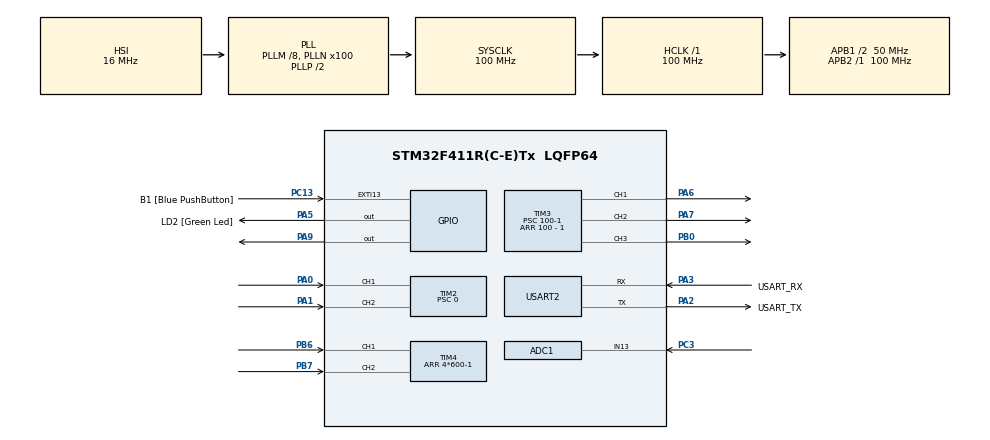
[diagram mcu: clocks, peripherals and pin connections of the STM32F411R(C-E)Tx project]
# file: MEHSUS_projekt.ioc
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ADC1.Channel-2\#ChannelRegularConversion=ADC_CHANNEL_13
ADC1.ContinuousConvMode=ENABLE
ADC1.NbrOfConversionFlag=1
ADC1.Rank-2\#ChannelRegularConversion=1
ADC1.SamplingTime-2\#ChannelRegularConversion=ADC_SAMPLETIME_3CYCLES
ADC1.master=1
Mcu.Family=STM32F4
Mcu.Name=STM32F411R(C-E)Tx
Mcu.Package=LQFP64
NVIC.ADC_IRQn=true\:0\:0\:false\:false\:true\:true\:true\:true
NVIC.PriorityGroup=NVIC_PRIORITYGROUP_0
NVIC.TIM5_IRQn=true\:0\:0\:false\:false\:true\:true\:true\:true
PA0-WKUP.Signal=S_TIM2_CH1_ETR
PA1.Signal=S_TIM2_CH2
PA13.GPIO_Label=TMS
PA13.Mode=Serial_Wire
PA13.Signal=SYS_JTMS-SWDIO
PA14.GPIO_Label=TCK
PA14.Mode=Serial_Wire
PA14.Signal=SYS_JTCK-SWCLK
PA2.GPIO_Label=USART_TX
PA2.Mode=Asynchronous
PA2.Signal=USART2_TX
PA3.GPIO_Label=USART_RX
PA3.Mode=Asynchronous
PA3.Signal=USART2_RX
PA5.GPIO_Label=LD2 [Green Led]
PA5.Signal=GPIO_Output
PA6.Signal=S_TIM3_CH1
PA7.Signal=S_TIM3_CH2
PA9.Signal=GPIO_Output
PB0.Signal=S_TIM3_CH3
PB3.GPIO_Label=SWO
PB3.Signal=SYS_JTDO-SWO
PB6.GPIO_PuPd=GPIO_PULLUP
PB6.Signal=S_TIM4_CH1
PB7.GPIO_PuPd=GPIO_PULLUP
PB7.Signal=S_TIM4_CH2
PC13-ANTI_TAMP.GPIO_Label=B1 [Blue PushButton]
PC13-ANTI_TAMP.GPIO_ModeDefaultEXTI=GPIO_MODE_IT_FALLING
PC13-ANTI_TAMP.Signal=GPXTI13
PC14-OSC32_IN.Mode=LSE-External-Oscillator
PC14-OSC32_IN.Signal=RCC_OSC32_IN
PC15-OSC32_OUT.Mode=LSE-External-Oscillator
PC15-OSC32_OUT.Signal=RCC_OSC32_OUT
PC3.Signal=ADCx_IN13
PH0\ -\ OSC_IN.Mode=HSE-External-Oscillator
PH0\ -\ OSC_IN.Signal=RCC_OSC_IN
PH1\ -\ OSC_OUT.Mode=HSE-External-Oscillator
PH1\ -\ OSC_OUT.Signal=RCC_OSC_OUT
ProjectManager.HeapSize=0x200
ProjectManager.StackSize=0x400
ProjectManager.TargetToolchain=STM32CubeIDE
RCC.48MHZClocksFreq_Value=50000000
RCC.AHBFreq_Value=100000000
RCC.APB1CLKDivider=RCC_HCLK_DIV2
RCC.APB1Freq_Value=50000000
RCC.APB1TimFreq_Value=100000000
RCC.APB2Freq_Value=100000000
RCC.APB2TimFreq_Value=100000000
RCC.CortexFreq_Value=100000000
RCC.FLatency-AdvancedSettings=FLASH_LATENCY_3
RCC.HCLKFreq_Value=100000000
RCC.HSE_VALUE=8000000
RCC.HSI_VALUE=16000000
RCC.PLLM=8
RCC.PLLN=100
RCC.SYSCLKFreq_VALUE=100000000
RCC.SYSCLKSource=RCC_SYSCLKSOURCE_PLLCLK
RCC.VCOOutputFreq_Value=200000000
SH.ADCx_IN13.0=ADC1_IN13,IN13
SH.S_TIM2_CH1_ETR.0=TIM2_CH1,Encoder_Interface
SH.S_TIM2_CH2.0=TIM2_CH2,Encoder_Interface
SH.S_TIM3_CH1.0=TIM3_CH1,PWM Generation1 CH1
SH.S_TIM3_CH2.0=TIM3_CH2,PWM Generation2 CH2
SH.S_TIM3_CH3.0=TIM3_CH3,PWM Generation3 CH3
SH.S_TIM4_CH1.0=TIM4_CH1,Encoder_Interface
SH.S_TIM4_CH2.0=TIM4_CH2,Encoder_Interface
TIM2.AutoReloadPreload=TIM_AUTORELOAD_PRELOAD_ENABLE
TIM2.CounterMode=TIM_COUNTERMODE_UP
TIM2.EncoderMode=TIM_ENCODERMODE_TI12
TIM2.IC1Polarity=TIM_ICPOLARITY_FALLING
TIM2.IC2Polarity=TIM_ICPOLARITY_FALLING
TIM2.Period=2048*4 -1
TIM2.Prescaler=0
TIM3.Channel-PWM\ Generation1\ CH1=TIM_CHANNEL_1
TIM3.Channel-PWM\ Generation2\ CH2=TIM_CHANNEL_2
TIM3.Channel-PWM\ Generation3\ CH3=TIM_CHANNEL_3
TIM3.Period=100 - 1
TIM3.Prescaler=100-1
TIM4.AutoReloadPreload=TIM_AUTORELOAD_PRELOAD_ENABLE
TIM4.EncoderMode=TIM_ENCODERMODE_TI12
TIM4.IC1Polarity=TIM_ICPOLARITY_FALLING
TIM4.IC2Polarity=TIM_ICPOLARITY_FALLING
TIM4.Period=4*600-1
TIM5.AutoReloadPreload=TIM_AUTORELOAD_PRELOAD_ENABLE
TIM5.Period=10000-1
TIM5.Prescaler=100-1
USART2.VirtualMode=VM_ASYNC
VP_TIM5_VS_ClockSourceINT.Mode=Internal
board=NUCLEO-F411RE

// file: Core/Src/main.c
/* USER CODE BEGIN Header */
/**
  ******************************************************************************
  * @file           : main.c
  * @brief          : Main program body
  ******************************************************************************
  * @attention
  *
  * Copyright (c) 2022 STMicroelectronics.
  * All rights reserved.
  *
  * This software is licensed under terms that can be found in the LICENSE file
  * in the root directory of this software component.
  * If no LICENSE file comes with this software, it is provided AS-IS.
  *
  ******************************************************************************
  */
/* USER CODE END Header */
#include "main.h"

/* USER CODE BEGIN Includes */

#include <math.h>

/* USER CODE END Includes */

/* USER CODE BEGIN PD */
#define _2_SQRT3 1.15470053838f
#define _SQRT3 1.73205080757f
#define _1_SQRT3 0.57735026919f
#define _SQRT3_2 0.86602540378f
#define _SQRT2 1.41421356237f
#define _120_D2R 2.09439510239f
#define _PI 3.14159265359f
#define _PI_2 1.57079632679f
#define _PI_3 1.0471975512f
#define _2PI 6.28318530718f
#define _3PI_2 4.71238898038f
#define _PI_6 0.52359877559f
#define _RPM_TO_RADS 0.10471975512f

#define _round(x) ((x)>=0?(long)((x)+0.5f):(long)((x)-0.5f))
#define _constrain(amt,low,high) ((amt)<(low)?(low):((amt)>(high)?(high):(amt)))
#define _sign(a) ( ( (a) < 0 )  ?  -1   : ( (a) > 0 ) )

/* USER CODE END PD */

ADC_HandleTypeDef hadc1;

TIM_HandleTypeDef htim2;
TIM_HandleTypeDef htim3;
TIM_HandleTypeDef htim4;
TIM_HandleTypeDef htim5;

UART_HandleTypeDef huart2;

/* USER CODE BEGIN PV */

int sine_array[200] = {0,79,158,237,316,395,473,552,631,710,789,867,946,1024,1103,1181,1260,1338,1416,1494,1572,1650,1728,1806,1883,1961,2038,2115,2192,2269,2346,2423,2499,2575,2652,2728,2804,2879,2955,3030,3105,3180,3255,3329,3404,3478,3552,3625,3699,3772,3845,3918,3990,4063,4135,4206,4278,4349,4420,4491,4561,4631,4701,4770,4840,4909,4977,5046,5113,5181,5249,5316,5382,5449,5515,5580,5646,5711,5775,5839,5903,5967,6030,6093,6155,6217,6279,6340,6401,6461,6521,6581,6640,6699,6758,6815,6873,6930,6987,7043,7099,7154,7209,7264,7318,7371,7424,7477,7529,7581,7632,7683,7733,7783,7832,7881,7930,7977,8025,8072,8118,8164,8209,8254,8298,8342,8385,8428,8470,8512,8553,8594,8634,8673,8712,8751,8789,8826,8863,8899,8935,8970,9005,9039,9072,9105,9138,9169,9201,9231,9261,9291,9320,9348,9376,9403,9429,9455,9481,9506,9530,9554,9577,9599,9621,9642,9663,9683,9702,9721,9739,9757,9774,9790,9806,9821,9836,9850,9863,9876,9888,9899,9910,9920,9930,9939,9947,9955,9962,9969,9975,9980,9985,9989,9992,9995,9997,9999,10000,10000};

/* USER CODE END PV */

void SystemClock_Config(void);
static void MX_GPIO_Init(void);
static void MX_USART2_UART_Init(void);
static void MX_TIM2_Init(void);
static void MX_TIM3_Init(void);
static void MX_TIM4_Init(void);
static void MX_ADC1_Init(void);
static void MX_TIM5_Init(void);
/* USER CODE BEGIN PFP */

float _sin(float a){
  if(a < _PI_2){
    //return sine_array[(int)(199.0*( a / (_PI/2.0)))];
    //return sine_array[(int)(126.6873* a)];           // float array optimized
    return 0.0001*sine_array[_round(126.6873* a)];      // int array optimized
  }else if(a < _PI){
    // return sine_array[(int)(199.0*(1.0 - (a-_PI/2.0) / (_PI/2.0)))];
    //return sine_array[398 - (int)(126.6873*a)];          // float array optimized
    return 0.0001*sine_array[398 - _round(126.6873*a)];     // int array optimized
  }else if(a < _3PI_2){
    // return -sine_array[(int)(199.0*((a - _PI) / (_PI/2.0)))];
    //return -sine_array[-398 + (int)(126.6873*a)];           // float array optimized
    return -0.0001*sine_array[-398 + _round(126.6873*a)];      // int array optimized
  } else {
    // return -sine_array[(int)(199.0*(1.0 - (a - 3*_PI/2) / (_PI/2.0)))];
    //return -sine_array[796 - (int)(126.6873*a)];           // float array optimized
    return -0.0001*sine_array[796 - _round(126.6873*a)];      // int array optimized
  }
}

/* USER CODE END PFP */

/* USER CODE BEGIN 0 */

int sector = 0;

int init_done = 0;

int voltage_power_supply = 12;
float Uq = 6; // 0.5 * voltage_power_supply

int D1 = 0;
int D2 = 0;
int D3 = 0;

uint32_t counter_motor;
uint32_t counter_commutation_motor;

double counter_base_old = 0;
double counter_base_new = 0;
double counter_base_velocity;

uint16_t counter_base_raw;
int counter_base;

uint16_t potValue = 0;

int PWM_value = 25; //0-25

void HAL_TIM_PeriodElapsedCallback(TIM_HandleTypeDef *htim){
	counter_base_new = counter_base * _PI / 180;
	counter_base_velocity = (counter_base_new - counter_base_old) * 100;
	counter_base_old = counter_base_new;
}

void HAL_ADC_ConvCpltCallback(ADC_HandleTypeDef* hadc){
	  potValue = HAL_ADC_GetValue(&hadc1);
	  Uq =  potValue * 12 / 4096 - 6;
}

float LQR(float p_angle, float p_vel, float m_vel){

	float u =  1138.4*p_angle + 129.6*p_vel + 0*m_vel;

	if(abs(u) > 6) u = _sign(u)*6;

	return u;
}
/* USER CODE END 0 */

int main(void)
{

  /* MCU Configuration--------------------------------------------------------*/

  /* Reset of all peripherals, Initializes the Flash interface and the Systick. */
  HAL_Init();

  /* Configure the system clock */
  SystemClock_Config();

  /* Initialize all configured peripherals */
  MX_GPIO_Init();
  MX_USART2_UART_Init();
  MX_TIM2_Init();
  MX_TIM3_Init();
  MX_TIM4_Init();
  MX_ADC1_Init();
  MX_TIM5_Init();
  /* USER CODE BEGIN 2 */

  HAL_TIM_PWM_Start(&htim3, TIM_CHANNEL_1);
  HAL_TIM_PWM_Start(&htim3, TIM_CHANNEL_2);
  HAL_TIM_PWM_Start(&htim3, TIM_CHANNEL_3);
  //HAL_TIM_PWM_Start(&htim4, TIM_CHANNEL_1);

  // INIT
  HAL_GPIO_WritePin(GPIOA, GPIO_PIN_9, RESET);
  HAL_Delay(1000);
  HAL_GPIO_WritePin(GPIOA, GPIO_PIN_9, SET);
  if (init_done == 0 ) {
	  htim3.Instance->CCR1 = 100;
	  htim3.Instance->CCR2 = 0;
	  htim3.Instance->CCR3 = 0;
	  HAL_GPIO_WritePin(LD2_GPIO_Port, LD2_Pin, SET);
	  HAL_Delay(2000);
	  init_done = 1;
	  HAL_TIM_Encoder_Start(&htim2, TIM_CHANNEL_ALL);
	  HAL_GPIO_WritePin(LD2_GPIO_Port, LD2_Pin, RESET);
  }

  HAL_TIM_Encoder_Start(&htim4, TIM_CHANNEL_ALL);
  HAL_TIM_Base_Start_IT(&htim5);
  /* USER CODE END 2 */

  /* Infinite loop */
  while (1)
  {

    /* USER CODE BEGIN 3 */

	  //HAL_ADC_Start_IT(&hadc1);

	  HAL_GPIO_WritePin(GPIOA, GPIO_PIN_9, SET);

	  //counter_base = htim4.Instance->CCR1

	  counter_base_raw = htim4.Instance->CCR1;
	  counter_base = counter_base_raw * 360 / (htim4.Init.Period + 1) - 180;

	  counter_motor = htim2.Instance->CCR1 * 360 * 7 / (htim2.Init.Period + 1);
	  counter_commutation_motor = (counter_motor + 0) % 360;
	  float angle_el = counter_commutation_motor * _PI / 180;

	  if (abs(counter_base) < 60){
		  Uq = LQR(counter_base, counter_base_velocity, 0);
	  } else {
		  Uq = -_sign(counter_base_velocity) * 0.3 * voltage_power_supply;
		  //Uq = 0;
	  }

	  sector = floor(angle_el / _PI_3) + 1;
	  float T1 = _SQRT3 * _sin(sector * _PI_3 - angle_el) * Uq/voltage_power_supply;
	  float T2 = _SQRT3 * _sin(angle_el  - (sector - 1.0) * _PI_3) * Uq/voltage_power_supply;
	  float T0 = 1 - T1 - T2;

	  float Ta,Tb,Tc;

	  switch(sector){
	  case 1:
		  Ta = T1 + T2 + T0/2;
		  Tb = T2 + T0/2;
		  Tc = T0/2;
		  break;
	  case 2:
		  Ta = T1 +  T0/2;
		  Tb = T1 + T2 + T0/2;
		  Tc = T0/2;
		  break;
	  case 3:
		  Ta = T0/2;
		  Tb = T1 + T2 + T0/2;
		  Tc = T2 + T0/2;
		  break;
	  case 4:
		  Ta = T0/2;
		  Tb = T1+ T0/2;
		  Tc = T1 + T2 + T0/2;
		  break;
	  case 5:
		  Ta = T2 + T0/2;
		  Tb = T0/2;
		  Tc = T1 + T2 + T0/2;
		  break;
	  case 6:
		  Ta = T1 + T2 + T0/2;
		  Tb = T0/2;
		  Tc = T1 + T0/2;
		  break;
	  default:
		  // possible error state
		  Ta = 0;
		  Tb = 0;
		  Tc = 0;
	  }

	  htim3.Instance->CCR1 = Ta * PWM_value;
	  htim3.Instance->CCR2 = Tb * PWM_value;
	  htim3.Instance->CCR3 = Tc * PWM_value;

  }
  /* USER CODE END 3 */
}

void SystemClock_Config(void)
{
  RCC_OscInitTypeDef RCC_OscInitStruct = {0};
  RCC_ClkInitTypeDef RCC_ClkInitStruct = {0};

  /** Configure the main internal regulator output voltage
  */
  __HAL_RCC_PWR_CLK_ENABLE();
  __HAL_PWR_VOLTAGESCALING_CONFIG(PWR_REGULATOR_VOLTAGE_SCALE1);

  /** Initializes the RCC Oscillators according to the specified parameters
  * in the RCC_OscInitTypeDef structure.
  */
  RCC_OscInitStruct.OscillatorType = RCC_OSCILLATORTYPE_HSI;
  RCC_OscInitStruct.HSIState = RCC_HSI_ON;
  RCC_OscInitStruct.HSICalibrationValue = RCC_HSICALIBRATION_DEFAULT;
  RCC_OscInitStruct.PLL.PLLState = RCC_PLL_ON;
  RCC_OscInitStruct.PLL.PLLSource = RCC_PLLSOURCE_HSI;
  RCC_OscInitStruct.PLL.PLLM = 8;
  RCC_OscInitStruct.PLL.PLLN = 100;
  RCC_OscInitStruct.PLL.PLLP = RCC_PLLP_DIV2;
  RCC_OscInitStruct.PLL.PLLQ = 4;
  if (HAL_RCC_OscConfig(&RCC_OscInitStruct) != HAL_OK)
  {
    Error_Handler();
  }

  /** Initializes the CPU, AHB and APB buses clocks
  */
  RCC_ClkInitStruct.ClockType = RCC_CLOCKTYPE_HCLK|RCC_CLOCKTYPE_SYSCLK
                              |RCC_CLOCKTYPE_PCLK1|RCC_CLOCKTYPE_PCLK2;
  RCC_ClkInitStruct.SYSCLKSource = RCC_SYSCLKSOURCE_PLLCLK;
  RCC_ClkInitStruct.AHBCLKDivider = RCC_SYSCLK_DIV1;
  RCC_ClkInitStruct.APB1CLKDivider = RCC_HCLK_DIV2;
  RCC_ClkInitStruct.APB2CLKDivider = RCC_HCLK_DIV1;

  if (HAL_RCC_ClockConfig(&RCC_ClkInitStruct, FLASH_LATENCY_3) != HAL_OK)
  {
    Error_Handler();
  }
}

static void MX_ADC1_Init(void)
{

  ADC_ChannelConfTypeDef sConfig = {0};

  /** Configure the global features of the ADC (Clock, Resolution, Data Alignment and number of conversion)
  */
  hadc1.Instance = ADC1;
  hadc1.Init.ClockPrescaler = ADC_CLOCK_SYNC_PCLK_DIV4;
  hadc1.Init.Resolution = ADC_RESOLUTION_12B;
  hadc1.Init.ScanConvMode = DISABLE;
  hadc1.Init.ContinuousConvMode = ENABLE;
  hadc1.Init.DiscontinuousConvMode = DISABLE;
  hadc1.Init.ExternalTrigConvEdge = ADC_EXTERNALTRIGCONVEDGE_NONE;
  hadc1.Init.ExternalTrigConv = ADC_SOFTWARE_START;
  hadc1.Init.DataAlign = ADC_DATAALIGN_RIGHT;
  hadc1.Init.NbrOfConversion = 1;
  hadc1.Init.DMAContinuousRequests = DISABLE;
  hadc1.Init.EOCSelection = ADC_EOC_SINGLE_CONV;
  if (HAL_ADC_Init(&hadc1) != HAL_OK)
  {
    Error_Handler();
  }

  /** Configure for the selected ADC regular channel its corresponding rank in the sequencer and its sample time.
  */
  sConfig.Channel = ADC_CHANNEL_13;
  sConfig.Rank = 1;
  sConfig.SamplingTime = ADC_SAMPLETIME_3CYCLES;
  if (HAL_ADC_ConfigChannel(&hadc1, &sConfig) != HAL_OK)
  {
    Error_Handler();
  }

}

static void MX_TIM2_Init(void)
{

  TIM_Encoder_InitTypeDef sConfig = {0};
  TIM_MasterConfigTypeDef sMasterConfig = {0};

  htim2.Instance = TIM2;
  htim2.Init.Prescaler = 0;
  htim2.Init.CounterMode = TIM_COUNTERMODE_UP;
  htim2.Init.Period = 2048*4 -1;
  htim2.Init.ClockDivision = TIM_CLOCKDIVISION_DIV1;
  htim2.Init.AutoReloadPreload = TIM_AUTORELOAD_PRELOAD_ENABLE;
  sConfig.EncoderMode = TIM_ENCODERMODE_TI12;
  sConfig.IC1Polarity = TIM_ICPOLARITY_FALLING;
  sConfig.IC1Selection = TIM_ICSELECTION_DIRECTTI;
  sConfig.IC1Prescaler = TIM_ICPSC_DIV1;
  sConfig.IC1Filter = 0;
  sConfig.IC2Polarity = TIM_ICPOLARITY_FALLING;
  sConfig.IC2Selection = TIM_ICSELECTION_DIRECTTI;
  sConfig.IC2Prescaler = TIM_ICPSC_DIV1;
  sConfig.IC2Filter = 0;
  if (HAL_TIM_Encoder_Init(&htim2, &sConfig) != HAL_OK)
  {
    Error_Handler();
  }
  sMasterConfig.MasterOutputTrigger = TIM_TRGO_RESET;
  sMasterConfig.MasterSlaveMode = TIM_MASTERSLAVEMODE_DISABLE;
  if (HAL_TIMEx_MasterConfigSynchronization(&htim2, &sMasterConfig) != HAL_OK)
  {
    Error_Handler();
  }

}

static void MX_TIM3_Init(void)
{

  TIM_MasterConfigTypeDef sMasterConfig = {0};
  TIM_OC_InitTypeDef sConfigOC = {0};

  htim3.Instance = TIM3;
  htim3.Init.Prescaler = 100-1;
  htim3.Init.CounterMode = TIM_COUNTERMODE_UP;
  htim3.Init.Period = 100 - 1;
  htim3.Init.ClockDivision = TIM_CLOCKDIVISION_DIV1;
  htim3.Init.AutoReloadPreload = TIM_AUTORELOAD_PRELOAD_DISABLE;
  if (HAL_TIM_PWM_Init(&htim3) != HAL_OK)
  {
    Error_Handler();
  }
  sMasterConfig.MasterOutputTrigger = TIM_TRGO_RESET;
  sMasterConfig.MasterSlaveMode = TIM_MASTERSLAVEMODE_DISABLE;
  if (HAL_TIMEx_MasterConfigSynchronization(&htim3, &sMasterConfig) != HAL_OK)
  {
    Error_Handler();
  }
  sConfigOC.OCMode = TIM_OCMODE_PWM1;
  sConfigOC.Pulse = 0;
  sConfigOC.OCPolarity = TIM_OCPOLARITY_HIGH;
  sConfigOC.OCFastMode = TIM_OCFAST_DISABLE;
  if (HAL_TIM_PWM_ConfigChannel(&htim3, &sConfigOC, TIM_CHANNEL_1) != HAL_OK)
  {
    Error_Handler();
  }
  if (HAL_TIM_PWM_ConfigChannel(&htim3, &sConfigOC, TIM_CHANNEL_2) != HAL_OK)
  {
    Error_Handler();
  }
  if (HAL_TIM_PWM_ConfigChannel(&htim3, &sConfigOC, TIM_CHANNEL_3) != HAL_OK)
  {
    Error_Handler();
  }
  HAL_TIM_MspPostInit(&htim3);

}

static void MX_TIM4_Init(void)
{

  TIM_Encoder_InitTypeDef sConfig = {0};
  TIM_MasterConfigTypeDef sMasterConfig = {0};

  htim4.Instance = TIM4;
  htim4.Init.Prescaler = 0;
  htim4.Init.CounterMode = TIM_COUNTERMODE_UP;
  htim4.Init.Period = 4*600-1;
  htim4.Init.ClockDivision = TIM_CLOCKDIVISION_DIV1;
  htim4.Init.AutoReloadPreload = TIM_AUTORELOAD_PRELOAD_ENABLE;
  sConfig.EncoderMode = TIM_ENCODERMODE_TI12;
  sConfig.IC1Polarity = TIM_ICPOLARITY_FALLING;
  sConfig.IC1Selection = TIM_ICSELECTION_DIRECTTI;
  sConfig.IC1Prescaler = TIM_ICPSC_DIV1;
  sConfig.IC1Filter = 0;
  sConfig.IC2Polarity = TIM_ICPOLARITY_FALLING;
  sConfig.IC2Selection = TIM_ICSELECTION_DIRECTTI;
  sConfig.IC2Prescaler = TIM_ICPSC_DIV1;
  sConfig.IC2Filter = 0;
  if (HAL_TIM_Encoder_Init(&htim4, &sConfig) != HAL_OK)
  {
    Error_Handler();
  }
  sMasterConfig.MasterOutputTrigger = TIM_TRGO_RESET;
  sMasterConfig.MasterSlaveMode = TIM_MASTERSLAVEMODE_DISABLE;
  if (HAL_TIMEx_MasterConfigSynchronization(&htim4, &sMasterConfig) != HAL_OK)
  {
    Error_Handler();
  }

}

static void MX_TIM5_Init(void)
{

  TIM_ClockConfigTypeDef sClockSourceConfig = {0};
  TIM_MasterConfigTypeDef sMasterConfig = {0};

  htim5.Instance = TIM5;
  htim5.Init.Prescaler = 100-1;
  htim5.Init.CounterMode = TIM_COUNTERMODE_UP;
  htim5.Init.Period = 10000-1;
  htim5.Init.ClockDivision = TIM_CLOCKDIVISION_DIV1;
  htim5.Init.AutoReloadPreload = TIM_AUTORELOAD_PRELOAD_ENABLE;
  if (HAL_TIM_Base_Init(&htim5) != HAL_OK)
  {
    Error_Handler();
  }
  sClockSourceConfig.ClockSource = TIM_CLOCKSOURCE_INTERNAL;
  if (HAL_TIM_ConfigClockSource(&htim5, &sClockSourceConfig) != HAL_OK)
  {
    Error_Handler();
  }
  sMasterConfig.MasterOutputTrigger = TIM_TRGO_RESET;
  sMasterConfig.MasterSlaveMode = TIM_MASTERSLAVEMODE_DISABLE;
  if (HAL_TIMEx_MasterConfigSynchronization(&htim5, &sMasterConfig) != HAL_OK)
  {
    Error_Handler();
  }

}

static void MX_USART2_UART_Init(void)
{

  huart2.Instance = USART2;
  huart2.Init.BaudRate = 115200;
  huart2.Init.WordLength = UART_WORDLENGTH_8B;
  huart2.Init.StopBits = UART_STOPBITS_1;
  huart2.Init.Parity = UART_PARITY_NONE;
  huart2.Init.Mode = UART_MODE_TX_RX;
  huart2.Init.HwFlowCtl = UART_HWCONTROL_NONE;
  huart2.Init.OverSampling = UART_OVERSAMPLING_16;
  if (HAL_UART_Init(&huart2) != HAL_OK)
  {
    Error_Handler();
  }

}

static void MX_GPIO_Init(void)
{
  GPIO_InitTypeDef GPIO_InitStruct = {0};

  /* GPIO Ports Clock Enable */
  __HAL_RCC_GPIOC_CLK_ENABLE();
  __HAL_RCC_GPIOH_CLK_ENABLE();
  __HAL_RCC_GPIOA_CLK_ENABLE();
  __HAL_RCC_GPIOB_CLK_ENABLE();

  /*Configure GPIO pin Output Level */
  HAL_GPIO_WritePin(GPIOA, LD2_Pin|GPIO_PIN_9, GPIO_PIN_RESET);

  /*Configure GPIO pin : B1_Pin */
  GPIO_InitStruct.Pin = B1_Pin;
  GPIO_InitStruct.Mode = GPIO_MODE_IT_FALLING;
  GPIO_InitStruct.Pull = GPIO_NOPULL;
  HAL_GPIO_Init(B1_GPIO_Port, &GPIO_InitStruct);

  /*Configure GPIO pins : LD2_Pin PA9 */
  GPIO_InitStruct.Pin = LD2_Pin|GPIO_PIN_9;
  GPIO_InitStruct.Mode = GPIO_MODE_OUTPUT_PP;
  GPIO_InitStruct.Pull = GPIO_NOPULL;
  GPIO_InitStruct.Speed = GPIO_SPEED_FREQ_LOW;
  HAL_GPIO_Init(GPIOA, &GPIO_InitStruct);

}

void Error_Handler(void)
{
  __disable_irq();
  while (1)
  {
  }
}
